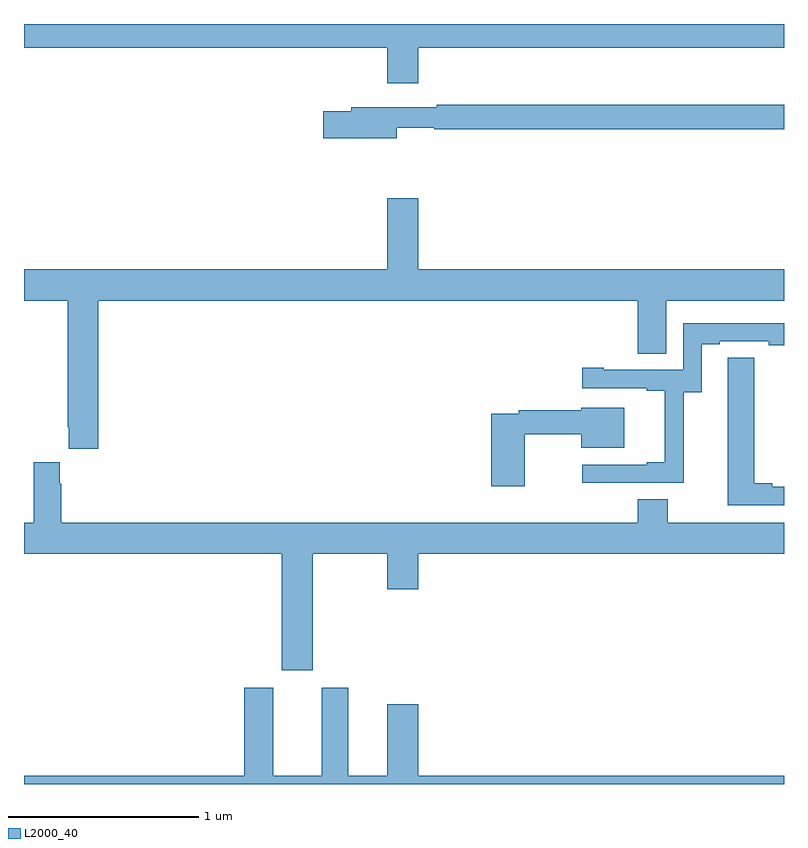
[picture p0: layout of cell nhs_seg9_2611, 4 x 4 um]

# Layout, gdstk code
import gdstk
lib = gdstk.Library(unit=1e-6, precision=1e-09)
def P(c, l, *ps):  # polygons
    for p in ps: c.add(gdstk.Polygon(p, *l))
L2000_40 = (2000, 40)

nhs_seg9_2611 = lib.new_cell('nhs_seg9_2611')
P(nhs_seg9_2611, L2000_40, [(263,1240.5),(259,1240.5),(259,1240.376),(260.912,1240.376),(260.912,1240.188),(261.076,1240.188),(261.076,1240.376),(263,1240.376)],
  [(260.962,1239.954),(261.158,1239.954),(261.158,1239.946),(263,1239.946),(263,1240.075),(261.172,1240.075),(261.172,1240.062),(260.723,1240.062),(260.723,1240.041),(260.574,1240.041),(260.574,1239.899),(260.962,1239.899)],
  [(259.391,1239.044),(262.229,1239.044),(262.229,1238.764),(262.381,1238.764),(262.381,1239.044),(263,1239.044),(263,1239.208),(261.076,1239.208),(261.076,1239.583),(260.912,1239.583),(260.912,1239.208),(259,1239.208),(259,1239.044),(259.231,1239.044),(259.231,1238.377),(259.235,1238.377),(259.235,1238.265),(259.391,1238.265)],
  [(262.473,1238.563),(262.567,1238.563),(262.567,1238.814),(262.663,1238.814),(262.663,1238.829),(262.919,1238.829),(262.919,1238.809),(263,1238.809),(263,1238.925),(262.47,1238.925),(262.47,1238.679),(262.051,1238.679),(262.051,1238.692),(261.939,1238.692),(261.939,1238.583),(262.277,1238.583),(262.277,1238.571),(262.373,1238.571),(262.373,1238.194),(262.277,1238.194),(262.277,1238.181),(261.939,1238.181),(261.939,1238.085),(262.473,1238.085)],
  [(263,1238.064),(262.939,1238.064),(262.939,1238.084),(262.843,1238.084),(262.843,1238.744),(262.704,1238.744),(262.704,1238.636),(262.703,1238.636),(262.703,1237.968),(263,1237.968)],
  [(261.636,1238.34),(261.932,1238.34),(261.932,1238.27),(262.159,1238.27),(262.159,1238.479),(261.932,1238.479),(261.932,1238.468),(261.604,1238.468),(261.604,1238.448),(261.458,1238.448),(261.458,1238.067),(261.636,1238.067)],
  [(260.521,1237.712),(260.912,1237.712),(260.912,1237.524),(261.076,1237.524),(261.076,1237.712),(263,1237.712),(263,1237.876),(262.389,1237.876),(262.389,1238),(262.229,1238),(262.229,1237.876),(259.196,1237.876),(259.196,1238.081),(259.189,1238.081),(259.189,1238.194),(259.052,1238.194),(259.052,1237.876),(259,1237.876),(259,1237.712),(260.357,1237.712),(260.357,1237.098),(260.521,1237.098)],
  [(263,1236.544),(261.076,1236.544),(261.076,1236.919),(260.912,1236.919),(260.912,1236.544),(260.707,1236.544),(260.707,1237.006),(260.567,1237.006),(260.567,1236.544),(260.311,1236.544),(260.311,1237.006),(260.159,1237.006),(260.159,1236.544),(259,1236.544),(259,1236.5),(263,1236.5)])

lib.write_gds('nhs_seg9_2611.gds')
